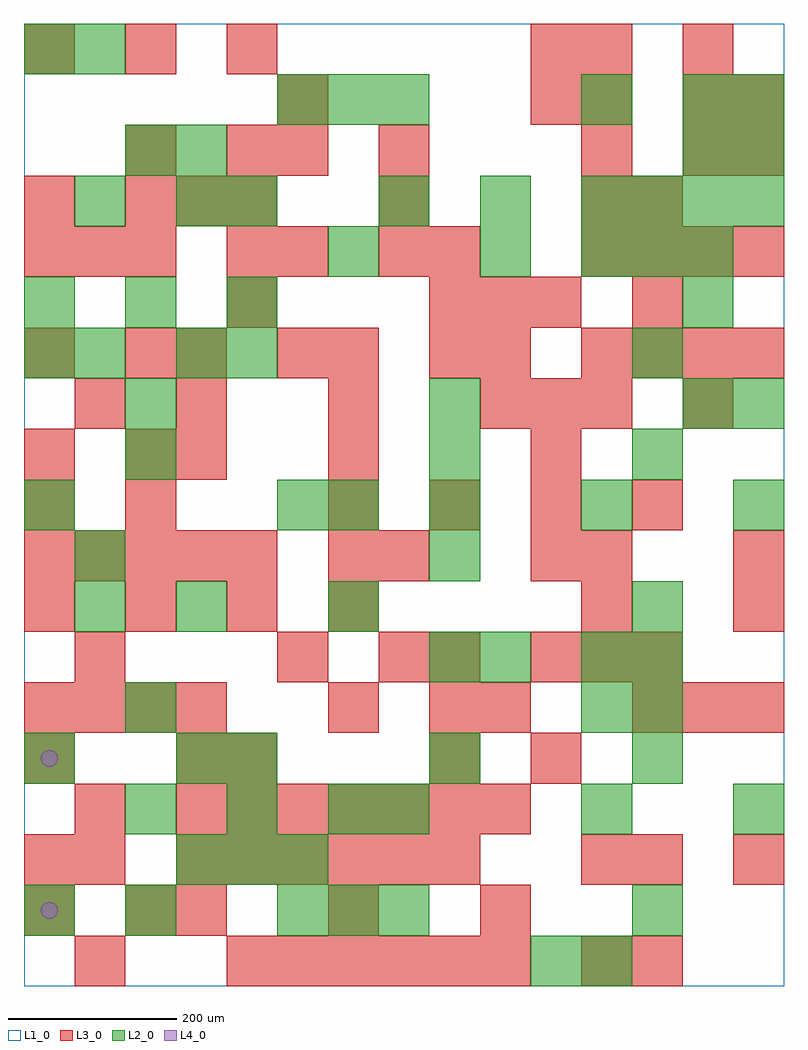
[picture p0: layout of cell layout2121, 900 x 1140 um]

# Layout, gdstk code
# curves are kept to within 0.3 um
import gdstk
lib = gdstk.Library(unit=1e-6, precision=1e-09)
def R(c, l, rs):  # rectangles x0, y0, x1, y1
    for r in rs: c.add(gdstk.rectangle(r[:2], r[2:], *l))
def A(c, l, x, y, w, h, nx, ny, dx, dy):  # array of equal rectangles
    R(c, l, [(x+i*dx, y+j*dy, x+i*dx+w, y+j*dy+h) for i in range(nx) for j in range(ny)])
def P(c, l, *ps):  # polygons
    for p in ps: c.add(gdstk.Polygon(p, *l))
L1_0 = (1, 0)
L2_0 = (2, 0)
L3_0 = (3, 0)
L4_0 = (4, 0)

layout2121 = lib.new_cell('layout2121')
R(layout2121, L1_0, [(0,0,900,1140)])
A(layout2121, L2_0, 300, 60, 60, 60, 3, 2, 60, 960)
A(layout2121, L2_0, 180, 120, 60, 60, 3, 1, 60, 0)
A(layout2121, L2_0, 120, 180, 60, 60, 3, 1, 120, 0)
A(layout2121, L2_0, 240, 240, 60, 60, 3, 1, 240, 0)
A(layout2121, L2_0, 720, 300, 60, 60, 1, 3, 0, 60)
A(layout2121, L2_0, 480, 360, 60, 60, 1, 3, 0, 120)
A(layout2121, L2_0, 480, 540, 60, 60, 3, 1, 180, 0)
A(layout2121, L2_0, 60, 720, 60, 60, 1, 3, 0, 180)
A(layout2121, L2_0, 0, 780, 60, 60, 3, 1, 120, 0)
A(layout2121, L2_0, 660, 840, 60, 60, 3, 1, 60, 0)
A(layout2121, L2_0, 420, 900, 60, 60, 3, 1, 120, 0)
A(layout2121, L2_0, 720, 900, 60, 60, 3, 1, 60, 0)
R(layout2121, L2_0, [(600,0,660,60), (660,0,720,60), (0,60,60,120), (120,60,180,120), (720,60,780,120), (420,180,480,240), (660,180,720,240), (840,180,900,240), (0,240,60,300), (180,240,240,300), (120,300,180,360), (660,300,720,360), (540,360,600,420), (660,360,720,420), (60,420,120,480), (180,420,240,480), (360,420,420,480), (60,480,120,540), (0,540,60,600), (300,540,360,600), (360,540,420,600), (120,600,180,660), (720,600,780,660), (120,660,180,720), (480,660,540,720), (780,660,840,720), (840,660,900,720), (0,720,60,780), (180,720,240,780), (240,720,300,780), (720,720,780,780), (780,780,840,840), (360,840,420,900), (540,840,600,900), (180,900,240,960), (240,900,300,960), (120,960,180,1020), (180,960,240,1020), (780,960,840,1020), (840,960,900,1020), (660,1020,720,1080), (780,1020,840,1080), (840,1020,900,1080), (0,1080,60,1140)])
A(layout2121, L3_0, 240, 0, 60, 60, 6, 1, 60, 0)
A(layout2121, L3_0, 180, 60, 60, 60, 3, 2, 180, 600)
A(layout2121, L3_0, 180, 120, 60, 60, 6, 1, 60, 0)
A(layout2121, L3_0, 180, 180, 60, 60, 7, 1, 60, 0)
A(layout2121, L3_0, 480, 240, 60, 60, 1, 3, 0, 60)
A(layout2121, L3_0, 0, 300, 60, 60, 4, 1, 60, 0)
A(layout2121, L3_0, 720, 300, 60, 60, 3, 1, 60, 0)
A(layout2121, L3_0, 600, 360, 60, 60, 3, 1, 60, 0)
A(layout2121, L3_0, 0, 420, 60, 60, 4, 1, 120, 0)
A(layout2121, L3_0, 0, 480, 60, 60, 5, 1, 60, 0)
A(layout2121, L3_0, 360, 480, 60, 60, 1, 3, 0, 120)
A(layout2121, L3_0, 360, 540, 60, 60, 4, 1, 120, 0)
A(layout2121, L3_0, 300, 720, 60, 60, 1, 3, 0, 120)
A(layout2121, L3_0, 660, 720, 60, 60, 4, 2, 60, 120)
A(layout2121, L3_0, 480, 780, 60, 60, 3, 1, 60, 0)
A(layout2121, L3_0, 0, 840, 60, 60, 3, 1, 60, 0)
A(layout2121, L3_0, 420, 840, 60, 60, 1, 3, 0, 60)
A(layout2121, L3_0, 120, 900, 60, 60, 3, 1, 60, 0)
A(layout2121, L3_0, 660, 900, 60, 60, 1, 4, 0, 60)
A(layout2121, L3_0, 780, 960, 60, 60, 1, 3, 0, 60)
A(layout2121, L3_0, 0, 1080, 60, 60, 3, 1, 120, 0)
R(layout2121, L3_0, [(60,0,120,60), (660,0,720,60), (720,0,780,60), (0,60,60,120), (120,60,180,120), (0,120,60,180), (60,120,120,180), (660,120,720,180), (720,120,780,180), (840,120,900,180), (60,180,120,240), (0,240,60,300), (180,240,240,300), (240,240,300,300), (600,240,660,300), (360,300,420,360), (540,300,600,360), (60,360,120,420), (300,360,360,420), (420,360,480,420), (660,420,720,480), (840,420,900,480), (420,480,480,540), (600,480,660,540), (660,480,720,540), (840,480,900,540), (0,540,60,600), (120,540,180,600), (0,600,60,660), (120,600,180,660), (180,600,240,660), (600,600,660,660), (60,660,120,720), (600,660,660,720), (660,660,720,720), (780,660,840,720), (0,720,60,780), (120,720,180,780), (180,720,240,780), (480,720,540,780), (540,720,600,780), (240,780,300,840), (720,780,780,840), (240,840,300,900), (480,840,540,900), (0,900,60,960), (720,900,780,960), (120,960,180,1020), (240,960,300,1020), (840,960,900,1020), (300,1020,360,1080), (600,1020,660,1080), (840,1020,900,1080), (600,1080,660,1140)])
P(layout2121, L4_0, [(40,90),(39.239,93.827),(37.071,97.071),(33.827,99.239),(30,100),(26.173,99.239),(22.929,97.071),(20.761,93.827),(20,90),(20.761,86.173),(22.929,82.929),(26.173,80.761),(30,80),(33.827,80.761),(37.071,82.929),(39.239,86.173)],
  [(40,270),(39.239,273.827),(37.071,277.071),(33.827,279.239),(30,280),(26.173,279.239),(22.929,277.071),(20.761,273.827),(20,270),(20.761,266.173),(22.929,262.929),(26.173,260.761),(30,260),(33.827,260.761),(37.071,262.929),(39.239,266.173)])

lib.write_gds('layout2121.gds')
